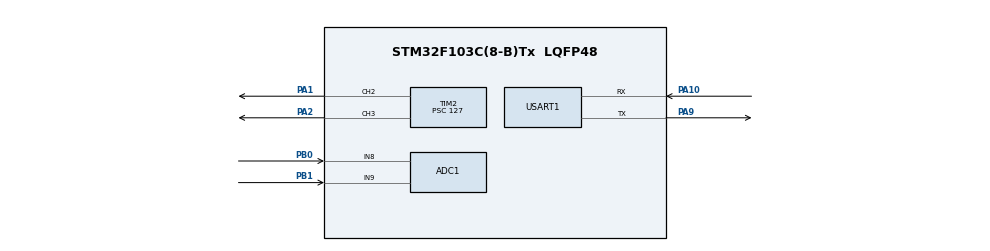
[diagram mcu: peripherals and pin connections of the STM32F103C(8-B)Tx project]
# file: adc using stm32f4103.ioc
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ADC1.Channel-1\#ChannelRegularConversion=ADC_CHANNEL_8
ADC1.ContinuousConvMode=ENABLE
ADC1.NbrOfConversionFlag=1
ADC1.Rank-1\#ChannelRegularConversion=1
ADC1.SamplingTime-1\#ChannelRegularConversion=ADC_SAMPLETIME_1CYCLE_5
ADC1.master=1
Mcu.Family=STM32F1
Mcu.Name=STM32F103C(8-B)Tx
Mcu.Package=LQFP48
NVIC.PriorityGroup=NVIC_PRIORITYGROUP_4
PA1.Signal=S_TIM2_CH2
PA10.Mode=Asynchronous
PA10.Signal=USART1_RX
PA13.Mode=Serial_Wire
PA13.Signal=SYS_JTMS-SWDIO
PA14.Mode=Serial_Wire
PA14.Signal=SYS_JTCK-SWCLK
PA2.Signal=S_TIM2_CH3
PA9.Mode=Asynchronous
PA9.Signal=USART1_TX
PB0.Signal=ADCx_IN8
PB1.Signal=ADCx_IN9
ProjectManager.HeapSize=0x200
ProjectManager.StackSize=0x400
ProjectManager.TargetToolchain=STM32CubeIDE
RCC.APB1Freq_Value=8000000
RCC.APB2Freq_Value=8000000
SH.ADCx_IN8.0=ADC1_IN8,IN8
SH.ADCx_IN9.0=ADC1_IN9,IN9
SH.S_TIM2_CH2.0=TIM2_CH2,PWM Generation2 CH2
SH.S_TIM2_CH3.0=TIM2_CH3,PWM Generation3 CH3
TIM2.Channel-PWM\ Generation2\ CH2=TIM_CHANNEL_2
TIM2.Channel-PWM\ Generation3\ CH3=TIM_CHANNEL_3
TIM2.Period=625
TIM2.Prescaler=127
USART1.VirtualMode=VM_ASYNC
VP_TIM2_VS_ClockSourceINT.Mode=Internal
board=custom

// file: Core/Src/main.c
/* USER CODE BEGIN Header */
/**
  ******************************************************************************
  * @file           : main.c
  * @brief          : Main program body
  ******************************************************************************
  * @attention
  *
  * <h2><center>&copy; Copyright (c) 2022 STMicroelectronics.
  * All rights reserved.</center></h2>
  *
  * This software component is licensed by ST under BSD 3-Clause license,
  * the "License"; You may not use this file except in compliance with the
  * License. You may obtain a copy of the License at:
  *                        opensource.org/licenses/BSD-3-Clause
  *
  ******************************************************************************
  */
/* USER CODE END Header */
#include "main.h"

ADC_HandleTypeDef hadc1;

TIM_HandleTypeDef htim2;

UART_HandleTypeDef huart1;

/* USER CODE BEGIN PV */

uint16_t readValue1;
uint16_t readValue2;
ADC_ChannelConfTypeDef sConfigPrivate ={0};

char charData1[30];
char charData2[30];

/* USER CODE END PV */

void SystemClock_Config(void);
static void MX_GPIO_Init(void);
static void MX_ADC1_Init(void);
static void MX_USART1_UART_Init(void);
static void MX_TIM2_Init(void);

int main(void)
{

  /* MCU Configuration--------------------------------------------------------*/

  /* Reset of all peripherals, Initializes the Flash interface and the Systick. */
  HAL_Init();

  /* Configure the system clock */
  SystemClock_Config();

  /* Initialize all configured peripherals */
  MX_GPIO_Init();
  MX_ADC1_Init();
  MX_USART1_UART_Init();
  MX_TIM2_Init();
  /* USER CODE BEGIN 2 */
  uint8_t buffer[30] = {0};

  HAL_TIM_PWM_Start(&htim2, TIM_CHANNEL_2);
  HAL_TIM_PWM_Start(&htim2, TIM_CHANNEL_3);

  /* USER CODE END 2 */

  /* Infinite loop */
  while (1)
  {

    /* USER CODE BEGIN 3 */
		 sConfigPrivate.Rank = ADC_REGULAR_RANK_1;
		 sConfigPrivate.Channel = ADC_CHANNEL_9;

	  HAL_ADC_ConfigChannel(&hadc1, &sConfigPrivate);
	 HAL_ADC_Start(&hadc1);
	 HAL_ADC_PollForConversion(&hadc1,1000);
	 readValue1 = HAL_ADC_GetValue(&hadc1);
	 HAL_ADC_Stop(&hadc1);
	 sprintf(charData1,"%d\r\n", readValue1);
   	 HAL_UART_Transmit(&huart1,(uint8_t *)charData1, strlen(charData1), HAL_MAX_DELAY);
	 HAL_UART_Receive(&huart1,buffer,30,100);

	 HAL_Delay(100);

	 sConfigPrivate.Rank = ADC_REGULAR_RANK_1;
	 sConfigPrivate.Channel = ADC_CHANNEL_8;
	 HAL_ADC_ConfigChannel(&hadc1, &sConfigPrivate);
	 HAL_ADC_Start(&hadc1);
	 HAL_ADC_PollForConversion(&hadc1,1000);
	 readValue2 = HAL_ADC_GetValue(&hadc1);
	 HAL_ADC_Stop(&hadc1);
	 sprintf(charData2,"%d\r\n", readValue2);

   	 HAL_UART_Transmit(&huart1,(uint8_t *)charData2, strlen(charData2), HAL_MAX_DELAY);
	 HAL_UART_Receive(&huart1,buffer,30,100);
	 HAL_Delay(1000);

  }
  /* USER CODE END 3 */
}

void SystemClock_Config(void)
{
  RCC_OscInitTypeDef RCC_OscInitStruct = {0};
  RCC_ClkInitTypeDef RCC_ClkInitStruct = {0};
  RCC_PeriphCLKInitTypeDef PeriphClkInit = {0};

  /** Initializes the RCC Oscillators according to the specified parameters
  * in the RCC_OscInitTypeDef structure.
  */
  RCC_OscInitStruct.OscillatorType = RCC_OSCILLATORTYPE_HSI;
  RCC_OscInitStruct.HSIState = RCC_HSI_ON;
  RCC_OscInitStruct.HSICalibrationValue = RCC_HSICALIBRATION_DEFAULT;
  RCC_OscInitStruct.PLL.PLLState = RCC_PLL_NONE;
  if (HAL_RCC_OscConfig(&RCC_OscInitStruct) != HAL_OK)
  {
    Error_Handler();
  }
  /** Initializes the CPU, AHB and APB buses clocks
  */
  RCC_ClkInitStruct.ClockType = RCC_CLOCKTYPE_HCLK|RCC_CLOCKTYPE_SYSCLK
                              |RCC_CLOCKTYPE_PCLK1|RCC_CLOCKTYPE_PCLK2;
  RCC_ClkInitStruct.SYSCLKSource = RCC_SYSCLKSOURCE_HSI;
  RCC_ClkInitStruct.AHBCLKDivider = RCC_SYSCLK_DIV1;
  RCC_ClkInitStruct.APB1CLKDivider = RCC_HCLK_DIV1;
  RCC_ClkInitStruct.APB2CLKDivider = RCC_HCLK_DIV1;

  if (HAL_RCC_ClockConfig(&RCC_ClkInitStruct, FLASH_LATENCY_0) != HAL_OK)
  {
    Error_Handler();
  }
  PeriphClkInit.PeriphClockSelection = RCC_PERIPHCLK_ADC;
  PeriphClkInit.AdcClockSelection = RCC_ADCPCLK2_DIV2;
  if (HAL_RCCEx_PeriphCLKConfig(&PeriphClkInit) != HAL_OK)
  {
    Error_Handler();
  }
}

static void MX_ADC1_Init(void)
{

  ADC_ChannelConfTypeDef sConfig = {0};

  /** Common config
  */
  hadc1.Instance = ADC1;
  hadc1.Init.ScanConvMode = ADC_SCAN_DISABLE;
  hadc1.Init.ContinuousConvMode = ENABLE;
  hadc1.Init.DiscontinuousConvMode = DISABLE;
  hadc1.Init.ExternalTrigConv = ADC_SOFTWARE_START;
  hadc1.Init.DataAlign = ADC_DATAALIGN_RIGHT;
  hadc1.Init.NbrOfConversion = 1;
  if (HAL_ADC_Init(&hadc1) != HAL_OK)
  {
    Error_Handler();
  }
  /** Configure Regular Channel
  */
  sConfig.Channel = ADC_CHANNEL_8;
  sConfig.Rank = ADC_REGULAR_RANK_1;
  sConfig.SamplingTime = ADC_SAMPLETIME_1CYCLE_5;
  if (HAL_ADC_ConfigChannel(&hadc1, &sConfig) != HAL_OK)
  {
    Error_Handler();
  }

}

static void MX_TIM2_Init(void)
{

  TIM_ClockConfigTypeDef sClockSourceConfig = {0};
  TIM_MasterConfigTypeDef sMasterConfig = {0};
  TIM_OC_InitTypeDef sConfigOC = {0};

  htim2.Instance = TIM2;
  htim2.Init.Prescaler = 127;
  htim2.Init.CounterMode = TIM_COUNTERMODE_UP;
  htim2.Init.Period = 625;
  htim2.Init.ClockDivision = TIM_CLOCKDIVISION_DIV1;
  htim2.Init.AutoReloadPreload = TIM_AUTORELOAD_PRELOAD_DISABLE;
  if (HAL_TIM_Base_Init(&htim2) != HAL_OK)
  {
    Error_Handler();
  }
  sClockSourceConfig.ClockSource = TIM_CLOCKSOURCE_INTERNAL;
  if (HAL_TIM_ConfigClockSource(&htim2, &sClockSourceConfig) != HAL_OK)
  {
    Error_Handler();
  }
  if (HAL_TIM_PWM_Init(&htim2) != HAL_OK)
  {
    Error_Handler();
  }
  sMasterConfig.MasterOutputTrigger = TIM_TRGO_RESET;
  sMasterConfig.MasterSlaveMode = TIM_MASTERSLAVEMODE_DISABLE;
  if (HAL_TIMEx_MasterConfigSynchronization(&htim2, &sMasterConfig) != HAL_OK)
  {
    Error_Handler();
  }
  sConfigOC.OCMode = TIM_OCMODE_PWM1;
  sConfigOC.Pulse = 0;
  sConfigOC.OCPolarity = TIM_OCPOLARITY_HIGH;
  sConfigOC.OCFastMode = TIM_OCFAST_DISABLE;
  if (HAL_TIM_PWM_ConfigChannel(&htim2, &sConfigOC, TIM_CHANNEL_2) != HAL_OK)
  {
    Error_Handler();
  }
  if (HAL_TIM_PWM_ConfigChannel(&htim2, &sConfigOC, TIM_CHANNEL_3) != HAL_OK)
  {
    Error_Handler();
  }
  HAL_TIM_MspPostInit(&htim2);

}

static void MX_USART1_UART_Init(void)
{

  huart1.Instance = USART1;
  huart1.Init.BaudRate = 115200;
  huart1.Init.WordLength = UART_WORDLENGTH_8B;
  huart1.Init.StopBits = UART_STOPBITS_1;
  huart1.Init.Parity = UART_PARITY_NONE;
  huart1.Init.Mode = UART_MODE_TX_RX;
  huart1.Init.HwFlowCtl = UART_HWCONTROL_NONE;
  huart1.Init.OverSampling = UART_OVERSAMPLING_16;
  if (HAL_UART_Init(&huart1) != HAL_OK)
  {
    Error_Handler();
  }

}

static void MX_GPIO_Init(void)
{

  /* GPIO Ports Clock Enable */
  __HAL_RCC_GPIOA_CLK_ENABLE();
  __HAL_RCC_GPIOB_CLK_ENABLE();

}

void Error_Handler(void)
{
  __disable_irq();
  while (1)
  {
  }
}

/************************ (C) COPYRIGHT STMicroelectronics *****END OF FILE****/
